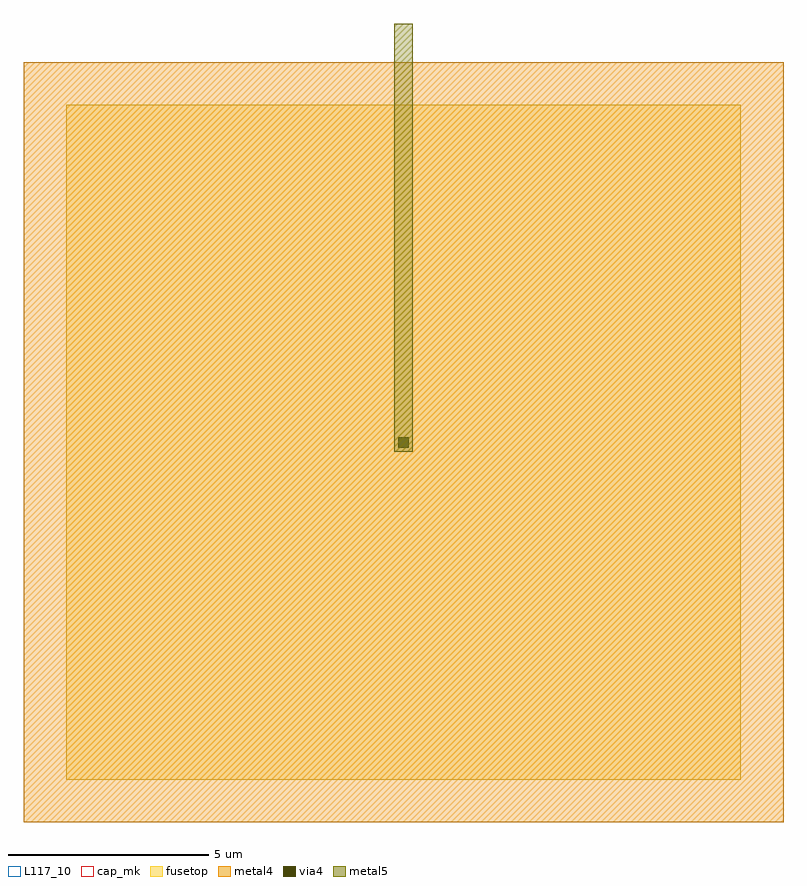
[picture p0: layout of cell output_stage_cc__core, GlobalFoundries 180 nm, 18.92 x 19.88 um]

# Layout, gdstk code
import gdstk
lib = gdstk.Library(unit=1e-6, precision=1e-09)
def R(c, l, rs):  # rectangles x0, y0, x1, y1
    for r in rs: c.add(gdstk.rectangle(r[:2], r[2:], *l))
via4 = (41, 0)
metal4 = (46, 0)
fusetop = (75, 0)
metal5 = (81, 0)
cap_mk = (117, 5)
L117_10 = (117, 10)

output_stage_cc__core = lib.new_cell('output_stage_cc__core')
R(output_stage_cc__core, via4, [(9.33,9.33,9.59,9.59)])
R(output_stage_cc__core, metal4, [(0,0,18.92,18.92)])
R(output_stage_cc__core, fusetop, [(1.06,1.06,17.86,17.86)])
R(output_stage_cc__core, metal5, [(9.23,9.23,9.69,9.69), (9.23,9.69,9.69,19.42), (9.23,19.42,9.69,19.88)])
R(output_stage_cc__core, cap_mk, [(1.06,1.06,17.86,17.86)])
R(output_stage_cc__core, L117_10, [(1.06,1.06,17.86,17.86)])

lib.write_gds('output_stage_cc__core.gds')
